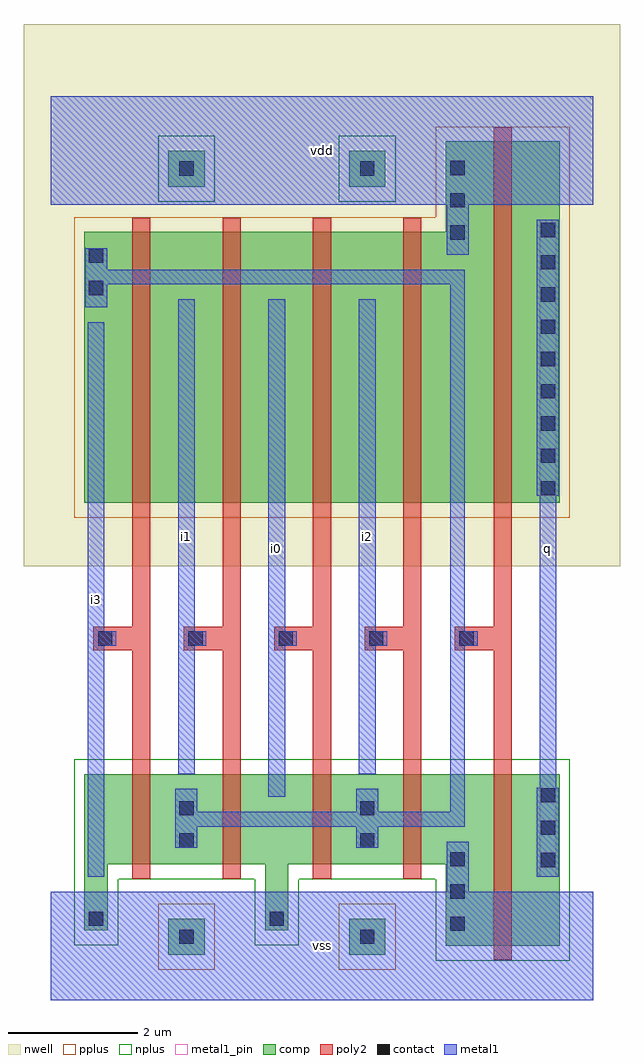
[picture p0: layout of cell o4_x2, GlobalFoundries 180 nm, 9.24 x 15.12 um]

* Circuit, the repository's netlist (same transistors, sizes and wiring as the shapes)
* o4_x2
.subckt o4_x2 vdd q vss i0 i1 i2 i3
Mp_net2_1 vdd _net2 q vdd pfet_03v3 l=0.28um w=5.6um
Mn_net2_1 vss _net2 q vss nfet_03v3 l=0.28um w=2.66um
Mn_i0_1 vss i0 _net2 vss nfet_03v3 l=0.28um w=1.4um
Mp_i0_1 _net3 i0 _net0 vdd pfet_03v3 l=0.28um w=4.2um
Mn_i1_1 _net2 i1 vss vss nfet_03v3 l=0.28um w=1.4um
Mp_i1_1 _net1 i1 _net3 vdd pfet_03v3 l=0.28um w=4.2um
Mp_i2_1 _net0 i2 vdd vdd pfet_03v3 l=0.28um w=4.2um
Mn_i2_1 _net2 i2 vss vss nfet_03v3 l=0.28um w=1.4um
Mn_i3_1 vss i3 _net2 vss nfet_03v3 l=0.28um w=1.4um
Mp_i3_1 _net2 i3 _net1 vdd pfet_03v3 l=0.28um w=4.2um
.ends o4_x2

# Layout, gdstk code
import gdstk
lib = gdstk.Library(unit=1e-6, precision=1e-09)
def R(c, l, rs):  # rectangles x0, y0, x1, y1
    for r in rs: c.add(gdstk.rectangle(r[:2], r[2:], *l))
def A(c, l, x, y, w, h, nx, ny, dx, dy):  # array of equal rectangles
    R(c, l, [(x+i*dx, y+j*dy, x+i*dx+w, y+j*dy+h) for i in range(nx) for j in range(ny)])
def P(c, l, *ps):  # polygons
    for p in ps: c.add(gdstk.Polygon(p, *l))
nwell = (21, 0)
comp = (22, 0)
poly2 = (30, 0)
pplus = (31, 0)
nplus = (32, 0)
contact = (33, 0)
metal1 = (34, 0)
metal1_pin = (34, 10)

o4_x2 = lib.new_cell('o4_x2')
R(o4_x2, nwell, [(-0.42,6.72,8.82,15.12)])
R(o4_x2, comp, [(1.82,0.7,2.38,1.26), (4.62,0.7,5.18,1.26), (1.82,12.6,2.38,13.16), (4.62,12.6,5.18,13.16)])
P(o4_x2, comp, [(0.52,7.7),(0.52,11.9),(6.12,11.9),(6.12,13.3),(7.88,13.3),(7.88,7.7)],
  [(6.12,0.84),(6.12,2.1),(3.68,2.1),(3.68,1.08),(3.32,1.08),(3.32,2.1),(0.88,2.1),(0.88,1.08),(0.52,1.08),(0.52,3.5),(7.88,3.5),(7.88,0.84)])
P(o4_x2, poly2, [(6.86,0.62),(6.86,5.42),(6.26,5.42),(6.26,5.78),(6.86,5.78),(6.86,13.52),(7.14,13.52),(7.14,0.62)],
  [(4.06,1.88),(4.06,5.42),(3.46,5.42),(3.46,5.78),(4.06,5.78),(4.06,12.12),(4.34,12.12),(4.34,1.88)],
  [(2.66,1.88),(2.66,5.42),(2.06,5.42),(2.06,5.78),(2.66,5.78),(2.66,12.12),(2.94,12.12),(2.94,1.88)],
  [(5.46,1.88),(5.46,5.42),(4.86,5.42),(4.86,5.78),(5.46,5.78),(5.46,12.12),(5.74,12.12),(5.74,1.88)],
  [(1.26,1.88),(1.26,5.42),(0.66,5.42),(0.66,5.78),(1.26,5.78),(1.26,12.12),(1.54,12.12),(1.54,1.88)])
R(o4_x2, pplus, [(1.66,0.47,2.54,1.49), (4.46,0.47,5.34,1.49)])
P(o4_x2, pplus, [(0.36,7.47),(0.36,12.13),(5.96,12.13),(5.96,13.53),(8.04,13.53),(8.04,7.47)])
R(o4_x2, nplus, [(1.66,12.37,2.54,13.39), (4.46,12.37,5.34,13.39)])
P(o4_x2, nplus, [(5.96,0.61),(5.96,1.87),(3.84,1.87),(3.84,0.85),(3.16,0.85),(3.16,1.87),(1.04,1.87),(1.04,0.85),(0.36,0.85),(0.36,3.73),(8.04,3.73),(8.04,0.61)])
A(o4_x2, contact, 6.19, 1.07, 0.22, 0.22, 1, 3, 0, 0.5)
A(o4_x2, contact, 7.59, 2.06, 0.22, 0.22, 1, 3, 0, 0.5)
A(o4_x2, contact, 0.73, 5.49, 0.22, 0.22, 5, 1, 1.4, 0)
A(o4_x2, contact, 7.59, 7.82, 0.22, 0.22, 1, 9, 0, 0.5)
A(o4_x2, contact, 6.19, 11.78, 0.22, 0.22, 1, 3, 0, 0.5)
R(o4_x2, contact, [(1.99,0.87,2.21,1.09), (4.79,0.87,5.01,1.09), (0.59,1.15,0.81,1.37), (3.39,1.15,3.61,1.37), (1.99,2.36,2.21,2.58), (4.79,2.36,5.01,2.58), (1.99,2.86,2.21,3.08), (4.79,2.86,5.01,3.08), (0.59,10.92,0.81,11.14), (0.59,11.42,0.81,11.64), (1.99,12.77,2.21,12.99), (4.79,12.77,5.01,12.99)])
P(o4_x2, metal1, [(6.13,11.545),(6.13,12.32),(0,12.32),(0,14),(8.4,14),(8.4,12.32),(6.47,12.32),(6.47,11.545)],
  [(7.53,1.91),(7.53,3.285),(7.57,3.285),(7.57,7.815),(7.53,7.815),(7.53,12.09),(7.87,12.09),(7.87,7.815),(7.83,7.815),(7.83,3.285),(7.87,3.285),(7.87,1.91)],
  [(1.93,2.355),(1.93,3.27),(2.27,3.27),(2.27,2.915),(4.73,2.915),(4.73,3.27),(5.07,3.27),(5.07,2.915),(6.185,2.915),(6.185,11.085),(0.87,11.085),(0.87,10.73),(0.53,10.73),(0.53,11.645),(0.87,11.645),(0.87,11.315),(6.415,11.315),(6.415,5.715),(6.61,5.715),(6.61,5.485),(6.415,5.485),(6.415,2.685),(5.07,2.685),(5.07,2.355),(4.73,2.355),(4.73,2.685),(2.27,2.685),(2.27,2.355)],
  [(0,0),(0,1.68),(6.13,1.68),(6.13,2.455),(6.47,2.455),(6.47,1.68),(8.4,1.68),(8.4,0)],
  [(3.37,3.145),(3.37,10.855),(3.63,10.855),(3.63,5.715),(3.81,5.715),(3.81,5.485),(3.63,5.485),(3.63,3.145)],
  [(1.97,3.5),(1.97,10.855),(2.23,10.855),(2.23,5.715),(2.41,5.715),(2.41,5.485),(2.23,5.485),(2.23,3.5)],
  [(4.77,3.5),(4.77,10.855),(5.03,10.855),(5.03,5.715),(5.21,5.715),(5.21,5.485),(5.03,5.485),(5.03,3.5)],
  [(0.57,1.91),(0.57,10.5),(0.83,10.5),(0.83,5.715),(1.01,5.715),(1.01,5.485),(0.83,5.485),(0.83,1.91)])
R(o4_x2, metal1_pin, [(0,0,8.4,1.68), (0.57,1.91,0.83,10.5), (7.57,1.91,7.83,12.09), (3.37,3.145,3.63,10.855), (1.97,3.5,2.23,10.855), (4.77,3.5,5.03,10.855), (0,12.32,8.4,14)])
o4_x2.add(gdstk.Label('vdd', (4.2,13.16), layer=34, texttype=10))
o4_x2.add(gdstk.Label('q', (7.7,7), layer=34, texttype=10))
o4_x2.add(gdstk.Label('vss', (4.2,0.84), layer=34, texttype=10))
o4_x2.add(gdstk.Label('i0', (3.5,7), layer=34, texttype=10))
o4_x2.add(gdstk.Label('i1', (2.1,7.177), layer=34, texttype=10))
o4_x2.add(gdstk.Label('i2', (4.9,7.177), layer=34, texttype=10))
o4_x2.add(gdstk.Label('i3', (0.7,6.205), layer=34, texttype=10))

lib.write_gds('o4_x2.gds')
